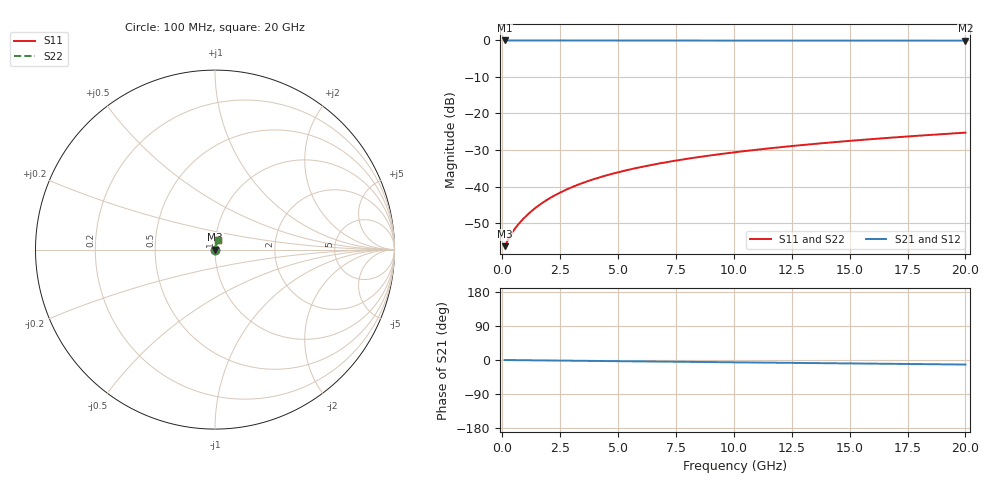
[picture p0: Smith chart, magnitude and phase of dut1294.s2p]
! Touchstone file exported from HFSS 2026.1.0
!  File:  C:/ffzhzh/LocalFiles/Ansys_Project_Files/temp_train_BSMRDL_1294_1783178066_55132.aedt
!  Generated:  11:15:36 PM Jul  4, 2026
!  Design:  BSMRDL
!  Project:  temp_train_BSMRDL_1294_1783178066_55132
! Variables:
!  h_bsmrdl = 4.32um
!  h_ox = 20um
!  h_rdl = 5um
!  h_sub = 80um
!  h_tmrdl = 5um
!  h_tsv = 80um
!  h_via = 3um
!  l_bsmrdl = 202.28um
!  l_sub = 602.28um
!  l_tmrdl = 200um
!  m_sub = 200um
!  pitch = 18.97um
!  r_tsv = 6um
!  s_tmrdl = 10um
!  w_bsmrdl = 12.5um
!  w_sub = 500um
!  w_tmrdl = 12um
!  x_tsv_center1 = 206um
!  x_tsv_center2 = 420.78um
!  x_tsv_center3 = 632.78um
!  x_tsv_center4 = 847.56um
!  x_tsv_center5 = 1059.56um
!  x_tsv_center6 = 1274.34um
# GHz S MA R 50.000000
! Terminal data exported
! Port[1] = BSM_RDL1_1_T1
! Port[2] = BSM_RDL1_1_T2
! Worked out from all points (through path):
!   200 points, 100 MHz to 20 GHz, reference 50 ohm
!   highest |S21| = -0.01 dB at 100 MHz (marker M1); lowest = -0.1 dB at 20 GHz (marker M2)
!   group delay of S21, straight-line fit = 1.66 ps
!   lowest |S11| = -56.3 dB at 100 MHz (marker M3), VSWR 1.00, Z = 50.1 + j0.0432 ohm
!   |S11| at or under -10 dB: start of sweep to end of sweep
!   |S22| runs from -56.3 to -25.2 dB; largest |S21 - S12| = 3e-15
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0.1  0.001529 16.4  0.9985 -0.1  0.9985 -0.1  0.001529 16.4
! Gamma 0 0 0 0
! Port Impedance 50 0 50 0
0.3  0.002008 36.3  0.9984 -0.2  0.9984 -0.2  0.002008 36.3
0.4  0.002275 41.9  0.9983 -0.3  0.9983 -0.3  0.002275 41.9
0.6  0.002801 49.7  0.9982 -0.4  0.9982 -0.4  0.002801 49.7
0.8  0.003331 55.3  0.9981 -0.5  0.9981 -0.5  0.003331 55.3
1  0.003876 59.6  0.9981 -0.6  0.9981 -0.6  0.003876 59.6
1.2  0.004437 62.9  0.998 -0.8  0.998 -0.8  0.004437 62.9
1.4  0.005011 65.4  0.998 -0.9  0.998 -0.9  0.005011 65.4
1.8  0.006187 69.0  0.9979 -1.1  0.9979 -1.1  0.006187 69.0
2.3  0.007683 71.8  0.9978 -1.4  0.9978 -1.4  0.007683 71.8
2.9  0.009488 73.6  0.9976 -1.8  0.9976 -1.8  0.009488 73.6
3.5  0.01128 74.6  0.9974 -2.2  0.9974 -2.2  0.01128 74.6
4.2  0.01335 75.3  0.9971 -2.6  0.9971 -2.6  0.01335 75.3
5  0.01568 75.5  0.9968 -3.1  0.9968 -3.1  0.01568 75.5
5.9  0.01825 75.5  0.9964 -3.6  0.9964 -3.6  0.01825 75.5
6.8  0.02076 75.4  0.996 -4.2  0.996 -4.2  0.02076 75.4
8.3  0.02485 75.0  0.9954 -5.1  0.9954 -5.1  0.02485 75.0
10.1  0.02963 74.5  0.9947 -6.2  0.9947 -6.2  0.02963 74.5
11.7  0.03379 73.9  0.9941 -7.1  0.9941 -7.1  0.03379 73.9
13.4  0.03815 73.3  0.9936 -8.1  0.9936 -8.1  0.03815 73.3
16.7  0.04648 72.0  0.9925 -10.0  0.9925 -10.0  0.04648 72.0
20  0.05467 70.5  0.9914 -12.0  0.9914 -12.0  0.05467 70.5
